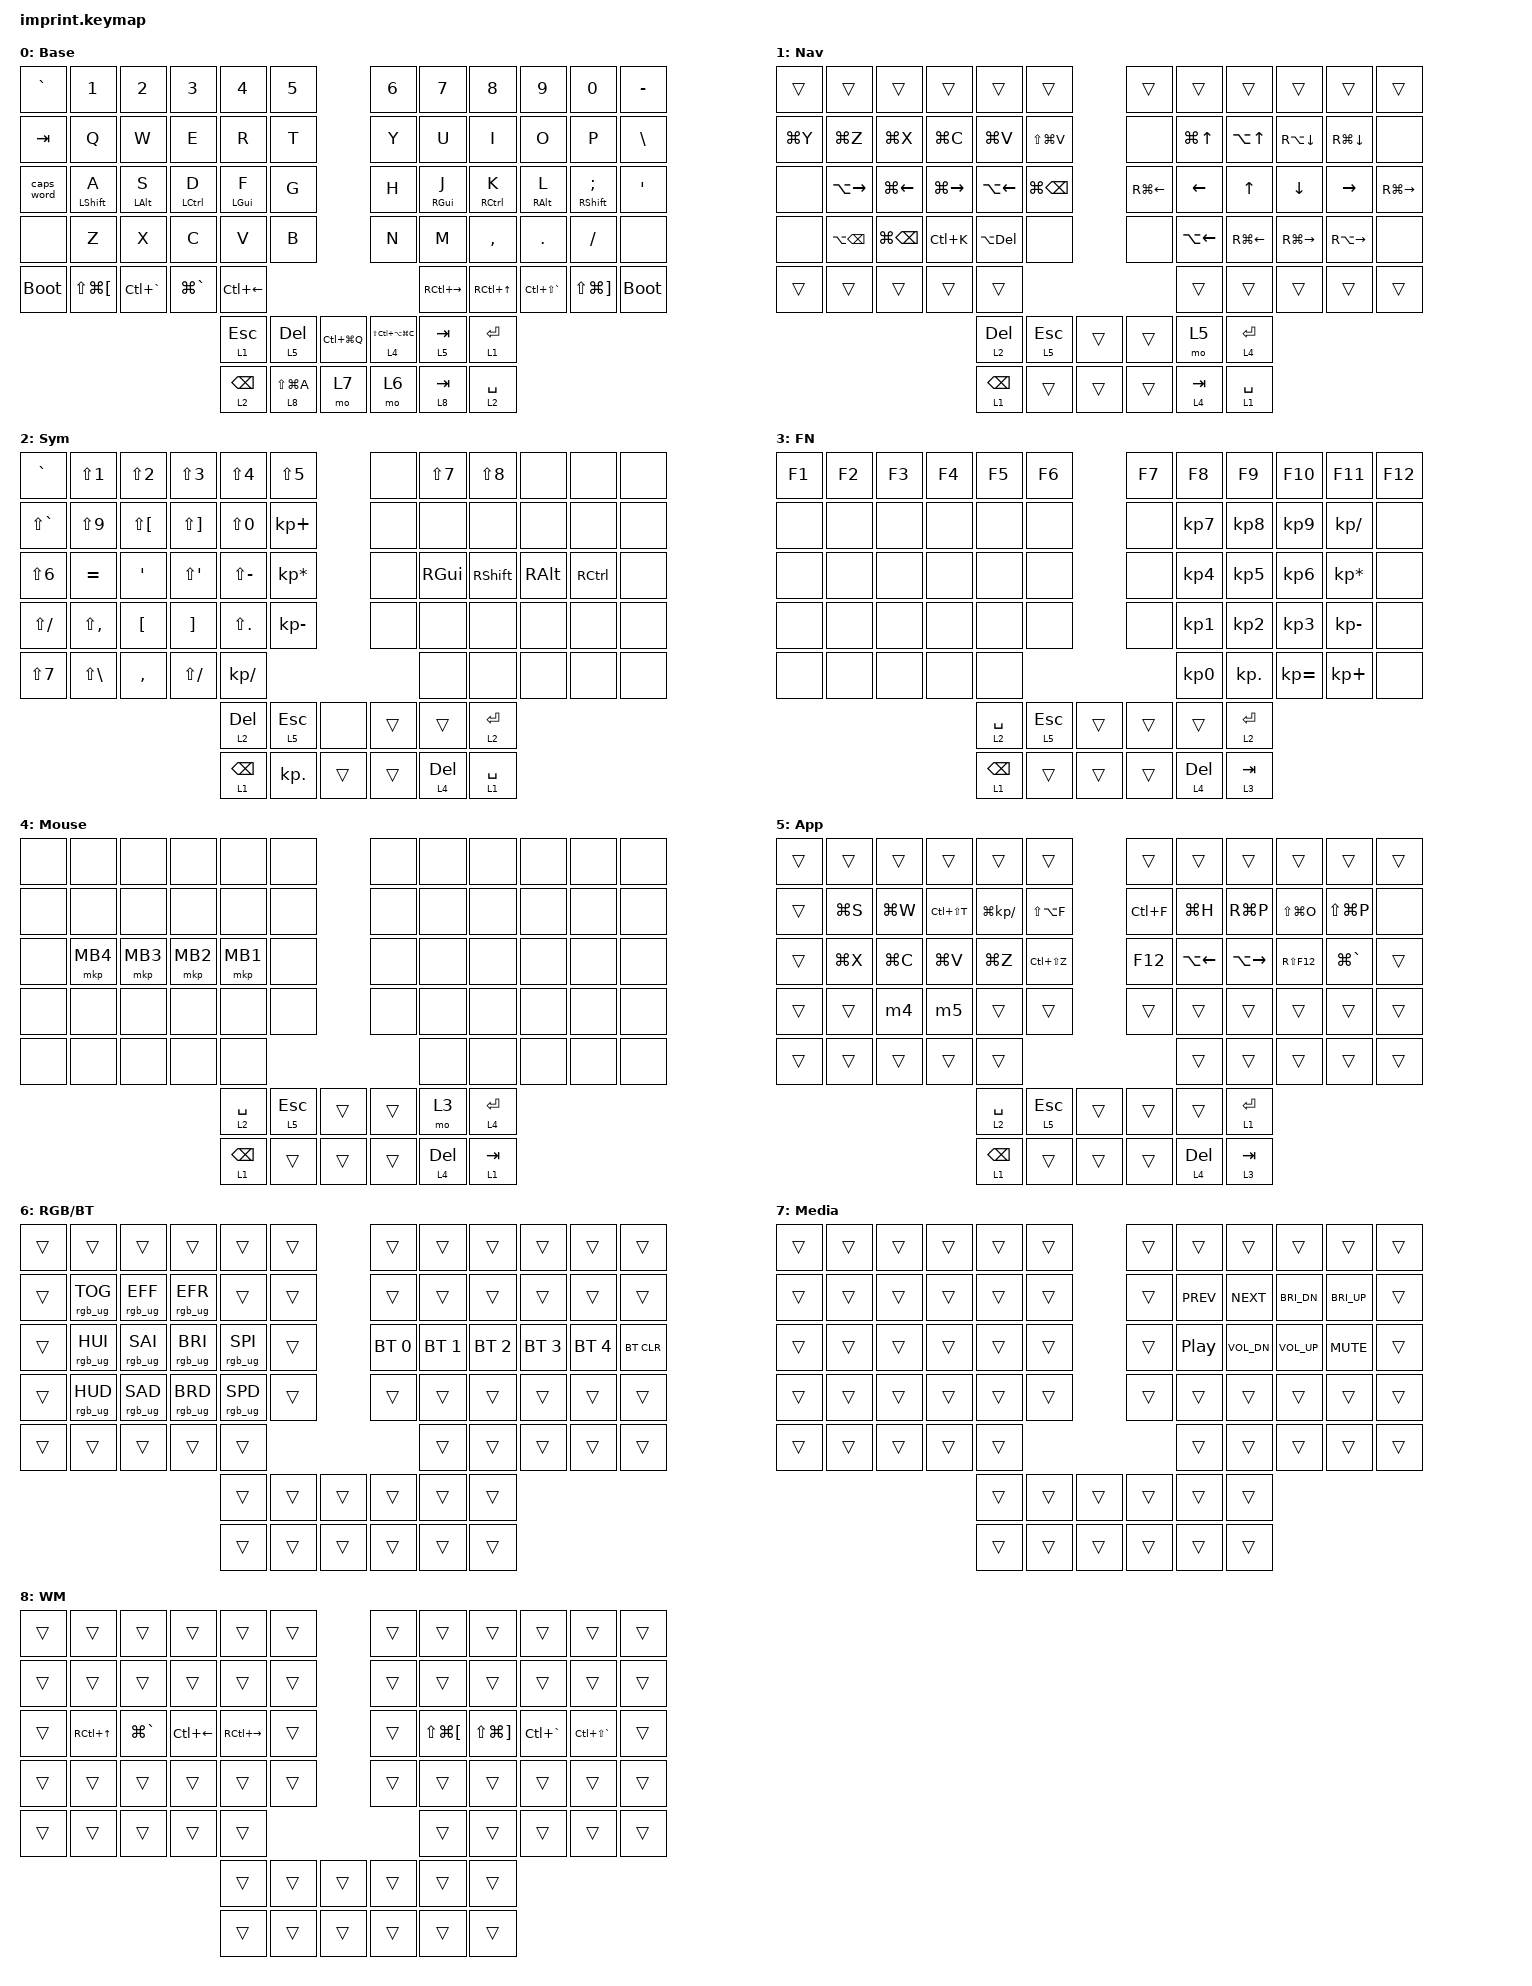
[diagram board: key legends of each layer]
/*
 * Cyboard Imprint Wireless — ZMK keymap
 * Generated from cyboard_wired.vil (Vial JSON export, version 1)
 *
 * ── Physical layout (binding order) ───────────────────────────────
 * 70 keys, interleaved LEFT-then-RIGHT within each row:
 *   Num   [ 0– 5 L | 6–11  R]:  L: GRAVE 1 2 3 4 5     R: 6 7 8 9 0 -
 *   Top   [12–17 L | 18–23 R]:  L: TAB Q W E R T       R: Y U I O P \
 *   Home  [24–29 L | 30–35 R]:  L: CapsWd A(HRM) S(HRM) D(HRM) F(HRM) G   R: H J(HRM) K(HRM) L(HRM) ;(HRM) '
 *   Bot   [36–41 L | 42–47 R]:  L: ▢ Z X C V B    R: N M , . / —
 *   Innr  [48–52 L | 53–57 R]:  outer corners (48 & 57) = &bootloader (single press)
 *   ThmA  [58–60 L | 61–63 R]:  top thumb row
 *   ThmB  [64–69]:  bottom thumb row — 66 = &mo 7 (Media), 67 = &mo 6 (RGB)
 *
 * ── Layers ───────────────────────────────────────────────────────
 *   0 BASE  1 NAV  2 SYM  3 FN/NUM  4 MOUSE  5 APP  6 RGB  7 MEDIA
 *
 * ── Macros ───────────────────────────────────────────────────────
 *   m0 = ":="   m1 = "!="   m2 = ">="   m3 = "<="
 *   m4 = LG(K)+LG(C)  (VSCode comment block)
 *   m5 = LG(K)+LG(U)  (VSCode uncomment block)
 *
 * ── Combos ───────────────────────────────────────────────────────
 *   R(16) + U(19)      → m1  "!="
 *   G(29) + H(30)      → m0  ":="
 *   V(40) + M(43)      → m2  ">="
 *   ,(44) + C(39)      → m3  "<="
 *
 * ── Home-row mods (positional / split: &hml left, &hmr right) ─────
 *   Left : CapsWd | A=LSHFT | S=LALT | D=LCTRL | F=LGUI | G
 *   Right: H    | J=RGUI  | K=RCTRL| L=RALT  | ;=RSHFT| '
 *   flavor=balanced, tapping-term=175ms, quick-tap=270ms, prior-idle=125ms.
 *   Mod engages only when the next key is on the opposite hand or a thumb.

*
 * ── Vial timing settings used ────────────────────────────────────
 *   setting  2 = 50   → tap_code delay
 *   setting  4 = 175  → tapping_term_ms
 *   setting  7 = 270  → quick_tap_ms
 *   setting 10 = 50   → combo timeout
 */

#include <input/processors.dtsi>
#include <dt-bindings/zmk/input_transform.h>
#include <behaviors.dtsi>
#include <dt-bindings/zmk/keys.h>
#include <dt-bindings/zmk/bt.h>
#include <dt-bindings/zmk/pointing.h>
#include <dt-bindings/zmk/rgb.h>

/* ── Key-position groups for positional home-row mods ──────────────
 * Used by &hml / &hmr so a modifier only engages when the *next* key is
 * on the opposite hand (or a thumb) — never during a same-hand roll. */

#define KEYS_L  0  1  2  3  4  5  12 13 14 15 16 17 24 25 26 27 28 29 36 37 38 39 40 41 48 49 50 51 52
#define KEYS_R  6  7  8  9  10 11 18 19 20 21 22 23 30 31 32 33 34 35 42 43 44 45 46 47 53 54 55 56 57
#define THUMBS  58 59 60 61 62 63 64 65 66 67 68 69

/ {
    /* Physical layout selects the key-position order the bindings below
     * (thumbs included) are written against. We pick number_row_full_bottom_row
     * (70 keys) — same underlying transform as before, so binding order is
     * unchanged. NOTE: for ZMK Studio we must select a *physical-layout*, NOT a
     * chosen matrix-transform. A chosen zmk,matrix-transform disables Studio and
     * makes the Cyboard shield fall back to a synthetic layout. */

    chosen { zmk,physical-layout = &physical_layout_imprint_number_row_full_bottom_row; };

    /* ═══════════════════════════════════════════════════════
     *  MACROS
     * ═══════════════════════════════════════════════════════ */

    macros {
        /* m0 — type ":=" */

        m0: macro_assign {
            compatible = "zmk,behavior-macro";
            #binding-cells = <0>;
            wait-ms = <0>;
            tap-ms = <10>;
            bindings = <&kp COLON &kp EQUAL>;
        };

        /* m1 — type "!=" */

        m1: macro_neq {
            compatible = "zmk,behavior-macro";
            #binding-cells = <0>;
            wait-ms = <0>;
            tap-ms = <10>;
            bindings = <&kp EXCL &kp EQUAL>;
        };

        /* m2 — type ">=" */

        m2: macro_gte {
            compatible = "zmk,behavior-macro";
            #binding-cells = <0>;
            wait-ms = <0>;
            tap-ms = <10>;
            bindings = <&kp GT &kp EQUAL>;
        };

        /* m3 — type "<=" */

        m3: macro_lte {
            compatible = "zmk,behavior-macro";
            #binding-cells = <0>;
            wait-ms = <0>;
            tap-ms = <10>;
            bindings = <&kp LT &kp EQUAL>;
        };

        /* m4 — LG(K) then LG(C)  (VSCode: comment selected lines) */

        m4: macro_vsc_comment {
            compatible = "zmk,behavior-macro";
            #binding-cells = <0>;
            wait-ms = <50>;
            tap-ms = <10>;
            bindings = <&kp LG(K) &kp LG(C)>;
        };

        /* m5 — LG(K) then LG(U)  (VSCode: uncomment selected lines) */

        m5: macro_vsc_uncomment {
            compatible = "zmk,behavior-macro";
            #binding-cells = <0>;
            wait-ms = <50>;
            tap-ms = <10>;
            bindings = <&kp LG(K) &kp LG(U)>;
        };
    };

    /* ═══════════════════════════════════════════════════════
     *  COMBOS  (timeout 50 ms from Vial setting 10)
     * ═══════════════════════════════════════════════════════ */

    combos {
        compatible = "zmk,combos";

        /* R(pos 16) + U(pos 19) → "!=" */

        combo_neq {
            timeout-ms = <50>;
            key-positions = <16 19>;
            bindings = <&m1>;
        };

        /* G(pos 29) + H(pos 30) → ":=" */

        combo_assign {
            timeout-ms = <50>;
            key-positions = <29 30>;
            bindings = <&m0>;
        };

        /* V(pos 40) + M(pos 43) → ">=" */

        combo_gte {
            timeout-ms = <50>;
            key-positions = <40 43>;
            bindings = <&m2>;
        };

        /* ,(pos 44) + C(pos 39) → "<=" */

        combo_lte {
            timeout-ms = <50>;
            key-positions = <44 39>;
            bindings = <&m3>;
        };
    };

    /* ═══════════════════════════════════════════════════════
     *  BEHAVIORS — positional (split) home-row mod-taps
     * ═══════════════════════════════════════════════════════ */

    behaviors {
        /* Left-hand home-row mods. The hold (modifier) only triggers when
         * the next key is on the right hand or a thumb, so same-hand rolls
         * like "sad"/"wef" stay taps. hold-trigger-on-release still lets you
         * stack two same-hand mods (e.g. F+A = Cmd+Shift). */

        hml: homerow_mod_left {
            compatible = "zmk,behavior-hold-tap";
            #binding-cells = <2>;
            flavor = "balanced";
            tapping-term-ms = <175>;
            quick-tap-ms = <270>;
            require-prior-idle-ms = <125>;
            hold-trigger-key-positions = <KEYS_R THUMBS>;
            hold-trigger-on-release;
            bindings = <&kp>, <&kp>;
        };

        /* Right-hand home-row mods — mirror of hml (triggers on left + thumbs). */

        hmr: homerow_mod_right {
            compatible = "zmk,behavior-hold-tap";
            #binding-cells = <2>;
            flavor = "balanced";
            tapping-term-ms = <175>;
            quick-tap-ms = <270>;
            require-prior-idle-ms = <125>;
            hold-trigger-key-positions = <KEYS_L THUMBS>;
            hold-trigger-on-release;
            bindings = <&kp>, <&kp>;
        };
    };

    /* ═══════════════════════════════════════════════════════
     *  KEYMAP
     *
     *  Binding order per layer (70 keys):
     *    Left  half: Num(6) Top(6) Home(6) Bot(6) Innr(5) Thumb(6)
     *    Right half: Num(6) Top(6) Home(6) Bot(6) Innr(5) Thumb(6)
     * ═══════════════════════════════════════════════════════ */

    keymap {
        compatible = "zmk,keymap";

        /* ── 0: Base ──────────────────────────────────────── */

        base_layer {
            display-name = "Base";
            bindings = <
&kp GRAVE    &kp N1            &kp N2         &kp N3         &kp N4        &kp N5                            &kp N6                   &kp N7         &kp N8        &kp N9             &kp N0            &kp MINUS
&kp TAB      &kp Q             &kp W          &kp E          &kp R         &kp T                             &kp Y                    &kp U          &kp I         &kp O              &kp P             &kp BSLH
&caps_word   &hml LSHFT A      &hml LALT S    &hml LCTRL D   &hml LGUI F   &kp G                             &kp H                    &hmr RGUI J    &hmr RCTRL K  &hmr RALT L        &hmr RSHFT SEMI   &kp SQT
&none        &kp Z             &kp X          &kp C          &kp V         &kp B                             &kp N                    &kp M          &kp COMMA     &kp DOT            &kp FSLH          &none
&bootloader  &kp LS(LG(LBKT))  &kp LC(GRAVE)  &kp LG(GRAVE)  &kp LC(LEFT)                                                             &kp RC(RIGHT)  &kp RC(UP)    &kp LC(LS(GRAVE))  &kp LS(LG(RBKT))  &bootloader
                                                             &lt 1 ESC     &lt 5 DEL        &kp LC(LG(Q))    &lt 4 LS(LC(LA(LG(C))))  &lt 5 TAB      &lt 1 RET
                                                             &lt 2 BSPC    &lt 8 LS(LG(A))  &mo 7            &mo 6                    &lt 8 TAB      &lt 2 SPACE
            >;
        };

        /* ── 1: Nav ───────────────────────────────────────── */

        nav_layer {
            display-name = "Nav";
            bindings = <
&trans     &trans         &trans        &trans         &trans        &trans                   &trans        &trans        &trans        &trans         &trans         &trans
&kp LG(Y)  &kp LG(Z)      &kp LG(X)     &kp LG(C)      &kp LG(V)     &kp LS(LG(V))            &none         &kp LG(UP)    &kp LA(UP)    &kp RA(DOWN)   &kp RG(DOWN)   &none
&none      &kp LA(RIGHT)  &kp LG(LEFT)  &kp LG(RIGHT)  &kp LA(LEFT)  &kp LG(BSPC)             &kp RG(LEFT)  &kp LEFT      &kp UP        &kp DOWN       &kp RIGHT      &kp RG(RIGHT)
&none      &kp LA(BSPC)   &kp LG(BSPC)  &kp LC(K)      &kp LA(DEL)   &none                    &none         &kp LA(LEFT)  &kp RG(LEFT)  &kp RG(RIGHT)  &kp RA(RIGHT)  &none
&trans     &trans         &trans        &trans         &trans                                               &trans        &trans        &trans         &trans         &trans
                                                       &lt 2 DEL     &lt 5 ESC      &trans    &trans        &mo 5         &lt 4 RET
                                                       &lt 1 BSPC    &trans         &trans    &trans        &lt 4 TAB     &lt 1 SPACE
            >;
        };

        /* ── 2: Sym ───────────────────────────────────────── */

        sym_layer {
            display-name = "Sym";
            bindings = <
&kp GRAVE      &kp LS(N1)     &kp LS(N2)    &kp LS(N3)    &kp LS(N4)     &kp LS(N5)                 &none   &kp LS(N7)  &kp LS(N8)   &none     &none      &none
&kp LS(GRAVE)  &kp LS(N9)     &kp LS(LBKT)  &kp LS(RBKT)  &kp LS(N0)     &kp KP_PLUS                &none   &none       &none        &none     &none      &none
&kp LS(N6)     &kp EQUAL      &kp SQT       &kp LS(SQT)   &kp LS(MINUS)  &kp KP_MULTIPLY            &none   &kp RGUI    &kp RSHFT    &kp RALT  &kp RCTRL  &none
&kp LS(FSLH)   &kp LS(COMMA)  &kp LBKT      &kp RBKT      &kp LS(DOT)    &kp KP_MINUS               &none   &none       &none        &none     &none      &none
&kp LS(N7)     &kp LS(BSLH)   &kp COMMA     &kp LS(FSLH)  &kp KP_DIVIDE                                     &none       &none        &none     &none      &none
                                                          &lt 2 DEL      &lt 5 ESC        &none     &trans  &trans      &lt 2 RET
                                                          &lt 1 BSPC     &kp KP_DOT       &trans    &trans  &lt 4 DEL   &lt 1 SPACE
            >;
        };

        /* ── 3: FN / Numpad ───────────────────────────────── */

        fn_layer {
            display-name = "FN";
            bindings = <
&kp F1  &kp F2  &kp F3  &kp F4  &kp F5       &kp F6               &kp F7  &kp F8     &kp F9      &kp F10       &kp F11          &kp F12
&none   &none   &none   &none   &none        &none                &none   &kp KP_N7  &kp KP_N8   &kp KP_N9     &kp KP_DIVIDE    &none
&none   &none   &none   &none   &none        &none                &none   &kp KP_N4  &kp KP_N5   &kp KP_N6     &kp KP_MULTIPLY  &none
&none   &none   &none   &none   &none        &none                &none   &kp KP_N1  &kp KP_N2   &kp KP_N3     &kp KP_MINUS     &none
&none   &none   &none   &none   &none                                     &kp KP_N0  &kp KP_DOT  &kp KP_EQUAL  &kp KP_PLUS      &none
                                &lt 2 SPACE  &lt 5 ESC  &trans    &trans  &trans     &lt 2 RET
                                &lt 1 BSPC   &trans     &trans    &trans  &lt 4 DEL  &lt 3 TAB
            >;
        };

        /* ── 4: Mouse ─────────────────────────────────────── */

        mouse_layer {
            display-name = "Mouse";
            bindings = <
&none  &none     &none     &none     &none        &none                &none   &none      &none      &none  &none  &none
&none  &none     &none     &none     &none        &none                &none   &none      &none      &none  &none  &none
&none  &mkp MB4  &mkp MB3  &mkp MB2  &mkp MB1     &none                &none   &none      &none      &none  &none  &none
&none  &none     &none     &none     &none        &none                &none   &none      &none      &none  &none  &none
&none  &none     &none     &none     &none                                     &none      &none      &none  &none  &none
                                     &lt 2 SPACE  &lt 5 ESC  &trans    &trans  &mo 3      &lt 4 RET
                                     &lt 1 BSPC   &trans     &trans    &trans  &lt 4 DEL  &lt 1 TAB
            >;
        };

        /* ── 5: App (application shortcuts) ──────────────── */

        app_layer {
            display-name = "App";
            bindings = <
&trans  &trans     &trans     &trans         &trans             &trans                   &trans     &trans        &trans         &trans         &trans         &trans
&trans  &kp LG(S)  &kp LG(W)  &kp LC(LS(T))  &kp LG(KP_DIVIDE)  &kp LS(LA(F))            &kp LC(F)  &kp LG(H)     &kp RG(P)      &kp LS(LG(O))  &kp LS(LG(P))  &none
&trans  &kp LG(X)  &kp LG(C)  &kp LG(V)      &kp LG(Z)          &kp LC(LS(Z))            &kp F12    &kp LA(LEFT)  &kp LA(RIGHT)  &kp RS(F12)    &kp LG(GRAVE)  &trans
&trans  &trans     &m4        &m5            &trans             &trans                   &trans     &trans        &trans         &trans         &trans         &trans
&trans  &trans     &trans     &trans         &trans                                                 &trans        &trans         &trans         &trans         &trans
                                             &lt 2 SPACE        &lt 5 ESC      &trans    &trans     &trans        &lt 1 RET
                                             &lt 1 BSPC         &trans         &trans    &trans     &lt 4 DEL     &lt 3 TAB
            >;
        };

        /* ── 6: RGB + Bluetooth ──────────────────────────────────
         * Held via &mo 6 on the right thumb cluster's unassigned key
         * (hold to use this layer, release to leave).
         * RGB controls on the LEFT hand:
         *   Top row:    Q=toggle on/off   W=next effect   E=prev effect
         *   Home row (increase):  A=hue+   S=sat+   D=bright+   F=speed+
         *   Bottom row (decrease):Z=hue-   X=sat-   C=bright-   V=speed-
         * Columns line up: A/Z=Hue  S/X=Saturation  D/C=Brightness  F/V=Speed
         * Bluetooth on the RIGHT home row:
         *   H J K L ; = select profile 0 1 2 3 4   |   ' = clear current bond
         * To pair a new device: switch to an empty profile, then pair from it. */

        rgb_layer {
            display-name = "RGB/BT";
            bindings = <
&trans  &trans           &trans           &trans           &trans           &trans            &trans  &trans  &trans  &trans  &trans  &trans
&trans  &rgb_ug RGB_TOG  &rgb_ug RGB_EFF  &rgb_ug RGB_EFR  &trans           &trans            &trans  &trans  &trans  &trans  &trans  &trans
&trans  &rgb_ug RGB_HUI  &rgb_ug RGB_SAI  &rgb_ug RGB_BRI  &rgb_ug RGB_SPI  &trans            &bt BT_SEL 0  &bt BT_SEL 1  &bt BT_SEL 2  &bt BT_SEL 3  &bt BT_SEL 4  &bt BT_CLR
&trans  &rgb_ug RGB_HUD  &rgb_ug RGB_SAD  &rgb_ug RGB_BRD  &rgb_ug RGB_SPD  &trans            &trans  &trans  &trans  &trans  &trans  &trans
&trans  &trans           &trans           &trans           &trans                                     &trans  &trans  &trans  &trans  &trans
                                                           &trans           &trans  &trans    &trans  &trans  &trans
                                                           &trans           &trans  &trans    &trans  &trans  &trans
            >;
        };

        /* ── 7: Media (momentary — hold the empty left-thumb key) ──
         * Controls sit on the RIGHT hand so they're reachable while the
         * left thumb holds the layer:
         *   Home row:  J=play/pause   K=vol−   L=vol+   ;=mute
         *   Top row:   U=prev track   I=next track   O=bright−   P=bright+ */

        media_layer {
            display-name = "Media";
            bindings = <
&trans  &trans  &trans  &trans  &trans  &trans            &trans  &trans      &trans        &trans        &trans        &trans
&trans  &trans  &trans  &trans  &trans  &trans            &trans  &kp C_PREV  &kp C_NEXT    &kp C_BRI_DN  &kp C_BRI_UP  &trans
&trans  &trans  &trans  &trans  &trans  &trans            &trans  &kp C_PP    &kp C_VOL_DN  &kp C_VOL_UP  &kp C_MUTE    &trans
&trans  &trans  &trans  &trans  &trans  &trans            &trans  &trans      &trans        &trans        &trans        &trans
&trans  &trans  &trans  &trans  &trans                            &trans      &trans        &trans        &trans        &trans
                                &trans  &trans  &trans    &trans  &trans      &trans
                                &trans  &trans  &trans    &trans  &trans      &trans
            >;
        };

        /* ── 8: WM (window / desktop / tab / terminal navigation) ──
         * The heavily-used inner-row keys, cloned onto the home row and
         * reached by holding a middle thumb-bottom key (either hand).
         * Hold the thumb opposite the hand you want to use:
         *   Left  home (A S D F): MissionCtl  SwitchWin  Desktop<-  Desktop->
         *   Right home (J K L ;): PrevTab  NextTab  ToggleTerm  NewTerm */

        wm_layer {
            display-name = "WM";
            bindings = <
&trans  &trans      &trans         &trans        &trans         &trans            &trans  &trans            &trans            &trans         &trans             &trans
&trans  &trans      &trans         &trans        &trans         &trans            &trans  &trans            &trans            &trans         &trans             &trans
&trans  &kp RC(UP)  &kp LG(GRAVE)  &kp LC(LEFT)  &kp RC(RIGHT)  &trans            &trans  &kp LS(LG(LBKT))  &kp LS(LG(RBKT))  &kp LC(GRAVE)  &kp LC(LS(GRAVE))  &trans
&trans  &trans      &trans         &trans        &trans         &trans            &trans  &trans            &trans            &trans         &trans             &trans
&trans  &trans      &trans         &trans        &trans                                   &trans            &trans            &trans         &trans             &trans
                                                 &trans         &trans  &trans    &trans  &trans            &trans
                                                 &trans         &trans  &trans    &trans  &trans            &trans
            >;
        };
    };
};

/* ── Trackball behavior (matches the wired/QMK setup) ──────────────────
 * LEFT (central) trackball  → scrolling
 * RIGHT (peripheral) trackball → cursor tracking (default; left unconfigured)
 *
 * This block modifies the existing central-trackball input listener so the
 * left ball emits scroll events instead of cursor movement. Tunables:
 *   - &zip_xy_scaler 1 6   : speed = multiply by 1, divide by 6. Raise the
 *                            divisor to scroll slower, lower it to scroll
 *                            faster (max 16). Was 3; bumped to 6 to calm it.
 *   - &zip_xy_to_scroll_mapper : converts pointer motion into scroll events.
 *   - INPUT_TRANSFORM_Y_INVERT : natural scrolling (content follows the top of
 *                            the ball). Remove it for standard scroll direction.
 */

&trackball_central_listener {
    input-processors =
        <&zip_xy_scaler 1 6>,
        <&zip_xy_to_scroll_mapper>,
        <&zip_scroll_transform INPUT_TRANSFORM_Y_INVERT>;
};

/* ── Auto mouse layer (right / cursor ball → Mouse layer) ────────────
 * Moving the right trackball temporarily enables layer 4 (Mouse), so the
 * MB1–4 keys under your left fingers go live without a manual thumb hold.
 * It switches off 1s after the ball stops. The manual Mouse hold still works.
 *   - 4         : Mouse layer index
 *   - 1000      : ms the layer lingers after the last movement (Cyboard's
 *                 sample used 500; bump it if the layer drops before you click)
 *   - require-prior-idle-ms : don't activate within 150ms of a keypress, so
 *                 typing vibration / a stray brush won't pop mouse mode
 *   - excluded-positions    : MB4 MB3 MB2 MB1 (25-28) — clicking them keeps
 *                 the layer alive; pressing anything else exits it */
&zip_temp_layer {
    require-prior-idle-ms = <150>;
    excluded-positions = <25 26 27 28>;
};

&trackball_peripheral_listener {
    input-processors = <&zip_temp_layer 4 1000>;
};
